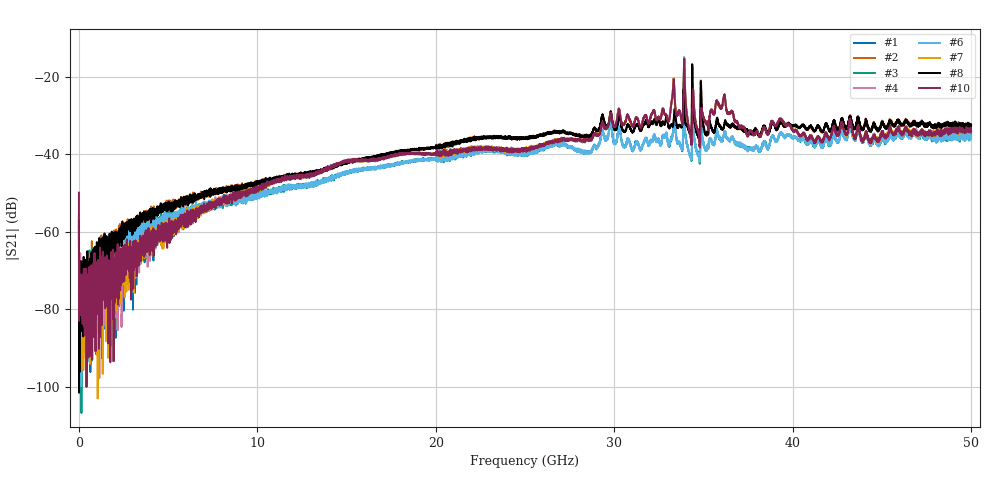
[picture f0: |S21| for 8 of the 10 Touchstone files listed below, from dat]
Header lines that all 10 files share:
!Created with skrf (http://scikit-rf.org).
# Hz S RI R 50.0
!freq ReS11 ImS11 ReS21 ImS21 ReS12 ImS12 ReS22 ImS22
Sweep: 300 kHz to 50 GHz
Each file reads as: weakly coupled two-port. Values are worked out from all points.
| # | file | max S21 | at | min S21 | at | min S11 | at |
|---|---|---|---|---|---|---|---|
| 1 | drift03_24_so3o4.s2p | -14.96 dB | 33.92 GHz | -96.2 dB | 645.3 MHz | -54.1 dB | 42.58 GHz |
| 2 | drift03_25_so2o3.s2p | -16.80 dB | 34.37 GHz | -89.5 dB | 345.3 MHz | -41.9 dB | 30.53 GHz |
| 3 | drift03_25_so3.s2p | -21.23 dB | 33.9 GHz | -106.8 dB | 140.3 MHz | -56.0 dB | 32.44 GHz |
| 4 | drift03_25_so3o4.s2p | -15.12 dB | 33.92 GHz | -97.8 dB | 1.145 GHz | -52.1 dB | 49.95 GHz |
| 5 | drift03_26_so2o3.s2p | -17.14 dB | 34.37 GHz | -98.7 dB | 525.3 MHz | -41.2 dB | 30.53 GHz |
| 6 | drift03_26_so3.s2p | -21.64 dB | 33.9 GHz | -99.9 dB | 105.3 MHz | -52.0 dB | 18.69 GHz |
| 7 | drift03_26_so3o4.s2p | -15.29 dB | 33.92 GHz | -103.0 dB | 1.05 GHz | -55.4 dB | 49.6 GHz |
| 8 | drift03_27_so2o3.s2p | -16.76 dB | 34.37 GHz | -101.6 dB | 10.3 MHz | -43.1 dB | 30.53 GHz |
| 9 | drift03_27_so3.s2p | -21.45 dB | 33.9 GHz | -109.3 dB | 985.3 MHz | -52.8 dB | 18.7 GHz |
| 10 | drift03_27_so3o4.s2p | -15.37 dB | 33.92 GHz | -100.1 dB | 425.3 MHz | -52.4 dB | 49.58 GHz |
